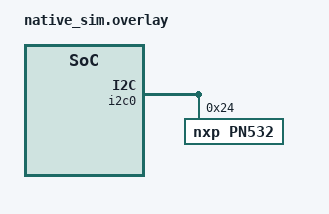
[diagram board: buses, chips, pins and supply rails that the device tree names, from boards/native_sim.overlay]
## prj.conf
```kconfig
# Copyright (c) 2025 Bayrem Gharsellaoui
# SPDX-License-Identifier: Apache-2.0

# Test
CONFIG_TEST=y
CONFIG_ZTEST=y

# PN532 NFC module
CONFIG_I2C=y
CONFIG_PN532=y
CONFIG_PN532_LOG_LEVEL=4
```

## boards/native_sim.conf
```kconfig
# Copyright (c) 2025 Bayrem Gharsellaoui
# SPDX-License-Identifier: Apache-2.0

CONFIG_EMUL=y
```

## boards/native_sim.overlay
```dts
/*
 * Copyright (c) 2025 Bayrem Gharsellaoui
 * SPDX-License-Identifier: Apache-2.0
 */

&i2c0 {
    status = "okay";
    pn532: pn532@24 {
        compatible = "nxp,pn532";
        reg = <0x24>;
        status = "okay";
    };
};
```

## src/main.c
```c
/*
 * Copyright (c) 2025 Bayrem Gharsellaoui
 * SPDX-License-Identifier: Apache-2.0
 */

#include <zephyr/kernel.h>
#include <zephyr/device.h>
#include <zephyr/ztest.h>

#include "pn532.h"

ZTEST_SUITE(pn532, NULL, NULL, NULL, NULL, NULL);

/**
 * @brief Test firmware version retrieval for the PN532 driver
 */
ZTEST(pn532, test_get_firmware_version)
{
    uint32_t version = 0;
    const struct device *dev = DEVICE_DT_GET_ANY(nxp_pn532);

    zassert_not_null(dev, "No PN532 device found");

    zassert_true(device_is_ready(dev), "PN532 device is not ready");

    zassert_equal(-EINVAL, pn532_get_firmware_version(NULL, NULL));

    zassert_equal(-EINVAL, pn532_get_firmware_version(dev, NULL));

    zassert_equal(-EINVAL, pn532_get_firmware_version(NULL, &version));
    zassert_equal(0, version);

    zassert_equal(0, pn532_get_firmware_version(dev, &version));
    zassert_equal(0x01020304, version);
}
```
